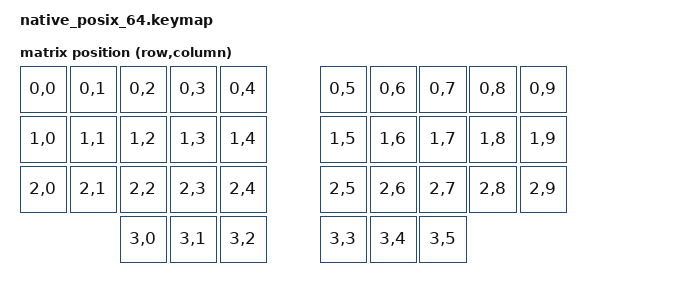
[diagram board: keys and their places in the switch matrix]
#include <dt-bindings/zmk/matrix_transform.h>
#include <dt-bindings/zmk/kscan_mock.h>

/ {
    chosen {
        zmk,matrix-transform = &transform;
    };

    /* op36 position N is RC(N/10, N%10); thumbs 30..35 are row 3. */
    transform: keymap_transform {
        compatible = "zmk,matrix-transform";
        columns = <10>;
        rows = <4>;
        map = <
            RC(0,0) RC(0,1) RC(0,2) RC(0,3) RC(0,4) RC(0,5) RC(0,6) RC(0,7) RC(0,8) RC(0,9)
            RC(1,0) RC(1,1) RC(1,2) RC(1,3) RC(1,4) RC(1,5) RC(1,6) RC(1,7) RC(1,8) RC(1,9)
            RC(2,0) RC(2,1) RC(2,2) RC(2,3) RC(2,4) RC(2,5) RC(2,6) RC(2,7) RC(2,8) RC(2,9)
            RC(3,0) RC(3,1) RC(3,2) RC(3,3) RC(3,4) RC(3,5)
        >;
    };
};&kscan {
    rows = <4>;
    columns = <10>;
    events = <
        /* lead-in so require-prior-idle-ms sees real idle time */
        ZMK_MOCK_PRESS(0,1,10)
        ZMK_MOCK_RELEASE(0,1,400)

        /* Space then Backspace: en -> numbers -> adj */
        ZMK_MOCK_PRESS(3,1,300)
        ZMK_MOCK_PRESS(3,4,300)
        /* pos 5 is &bt BT_SEL 0 on adj, &none on numbers and on en */
        ZMK_MOCK_PRESS(0,5,30)
        ZMK_MOCK_RELEASE(0,5,30)
        ZMK_MOCK_RELEASE(3,4,30)
        ZMK_MOCK_RELEASE(3,1,400)

        /* Backspace then Space: en -> nav -> adj */
        ZMK_MOCK_PRESS(3,4,300)
        ZMK_MOCK_PRESS(3,1,300)
        ZMK_MOCK_PRESS(0,5,30)
        ZMK_MOCK_RELEASE(0,5,30)
        ZMK_MOCK_RELEASE(3,1,30)
        ZMK_MOCK_RELEASE(3,4,100)
    >;
};

#include "/cfg/op36_ruen.keymap"
